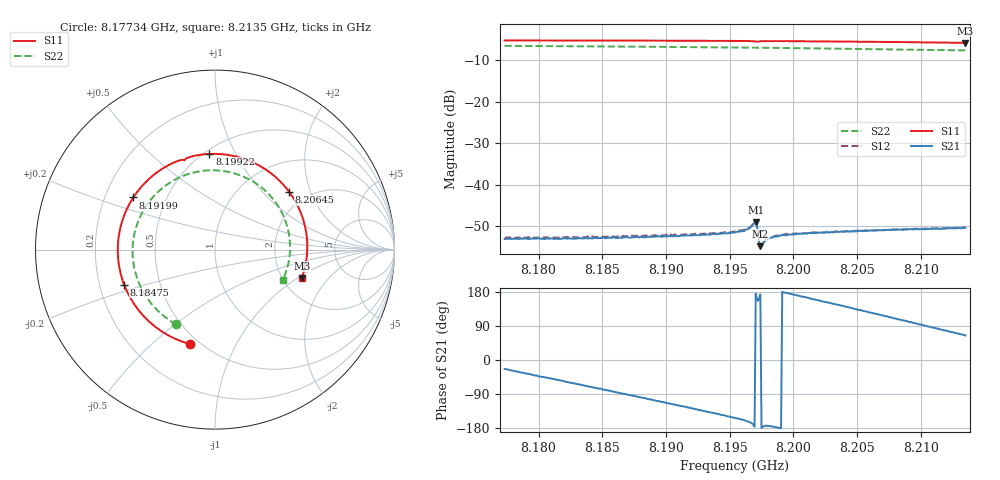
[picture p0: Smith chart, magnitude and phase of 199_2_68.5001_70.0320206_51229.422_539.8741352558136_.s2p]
#  HZ  S  RI  R  50.00
! Rohde & Schwarz Vector Network Analyzer
! Rohde-Schwarz,ZNB20-2Port,1311601062101988,3.16
! Created: UTC 3/20/2024, 4:57:32 PM
! freq[Hz]  re:S11  im:S11  re:S21  im:S21  re:S12  im:S12  re:S22  im:S22
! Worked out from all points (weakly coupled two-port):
!   401 points, 8.17734 GHz to 8.2135 GHz, reference 50 ohm
!   highest |S21| = -48.92 dB at 8.19705 GHz (marker M1); lowest = -54.8 dB at 8.19741 GHz (marker M2)
!   lowest |S11| = -5.9 dB at 8.2135 GHz (marker M3), VSWR 3.07, Z = 127 - j54.1 ohm
!   |S11| at or under -10 dB: nowhere
!   |S22| runs from -7.7 to -6.6 dB; largest |S21 - S12| = 0.00022
!   S11 on the Smith chart (normalised r, x): 8.17734 GHz: 0.45, -0.67; 8.18475 GHz: 0.31, -0.17; 8.19199 GHz: 0.32, +0.26; 8.19922 GHz: 0.53, +0.79; 8.20645 GHz: 1.62, +1.44; 8.2135 GHz: 2.55, -1.08
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8.17734e9  -0.1397 -0.5261  0.00204 -0.000904  0.00211 -0.000964  -0.2154 -0.4166
8.180233e9  -0.3188 -0.4405  0.0016 -0.00158  0.00165 -0.00164  -0.3423 -0.3158
8.183397e9  -0.4658 -0.2795  0.000936 -0.00206  0.000943 -0.00215  -0.4321 -0.1652
8.184753e9  -0.5067 -0.1946  0.000572 -0.00222  0.00058 -0.0023  -0.4517 -0.0924
8.187104e9  -0.5408 -0.0348  -8.37e-05 -0.00233  -0.000132 -0.00243  -0.4571 0.0375
8.189455e9  -0.5258 0.1282  -0.000778 -0.00228  -0.000882 -0.00229  -0.426 0.1637
8.191986e9  -0.4554 0.2903  -0.00148 -0.00197  -0.00156 -0.00197  -0.3533 0.2835
8.195422e9  -0.2827 0.4571  -0.00238 -0.0012  -0.0025 -0.00117  -0.2026 0.3999
8.196416e9  -0.2191 0.4894  -0.00279 -0.000888  -0.00287 -0.000819  -0.1508 0.4204
8.196958e9  -0.1796 0.5002  -0.00348 -0.000242  -0.00359 -8.39e-05  -0.1214 0.4288
8.197049e9  -0.1732 0.4994  -0.00357 0.000291  -0.00364 0.000493  -0.1164 0.43
8.197411e9  -0.1599 0.508  -0.00182 0.000217  -0.00185 0.000237  -0.0968 0.4344
8.197501e9  -0.1535 0.5111  -0.00187 -1.42e-05  -0.00194 6.43e-05  -0.0918 0.4353
8.198134e9  -0.1082 0.5238  -0.00225 -0.000229  -0.00231 -9.41e-05  -0.0564 0.4402
8.199219e9  -0.0313 0.5332  -0.00248 5.67e-05  -0.00251 0.000157  0.00515 0.4419
8.201479e9  0.1273 0.5158  -0.00247 0.000879  -0.00251 0.000974  0.131 0.4174
8.20383e9  0.2786 0.4486  -0.00219 0.00164  -0.00213 0.00174  0.2496 0.3535
8.206451e9  0.4133 0.3217  -0.00151 0.00239  -0.00144 0.00244  0.3526 0.2411
8.207536e9  0.4546 0.2563  -0.00111 0.00266  -0.00104 0.00269  0.3826 0.1845
8.208983e9  0.4933 0.161  -0.000578 0.00284  -0.000523 0.00287  0.4091 0.1024
8.21052e9  0.513 0.0531  7.13e-05 0.00294  0.000108 0.00296  0.4184 0.0102
8.213503e9  0.4842 -0.1575  0.00131 0.00276  0.00138 0.00274  0.3781 -0.1677
